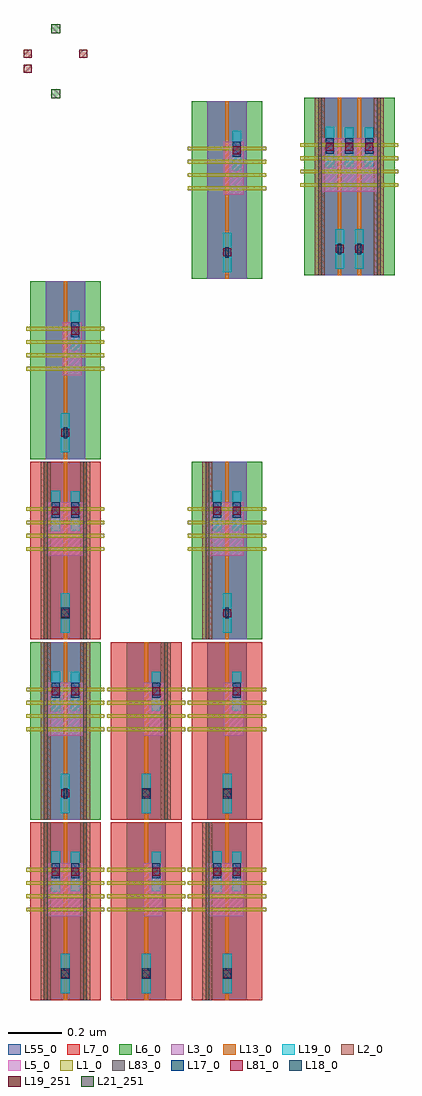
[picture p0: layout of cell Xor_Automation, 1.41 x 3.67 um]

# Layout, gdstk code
import gdstk
lib = gdstk.Library(unit=1e-6, precision=1e-09)
def R(c, l, rs):  # rectangles x0, y0, x1, y1
    for r in rs: c.add(gdstk.rectangle(r[:2], r[2:], *l))
def A(c, l, x, y, w, h, nx, ny, dx, dy):  # array of equal rectangles
    R(c, l, [(x+i*dx, y+j*dy, x+i*dx+w, y+j*dy+h) for i in range(nx) for j in range(ny)])
L1_0 = (1, 0)
L2_0 = (2, 0)
L3_0 = (3, 0)
L5_0 = (5, 0)
L6_0 = (6, 0)
L7_0 = (7, 0)
L13_0 = (13, 0)
L17_0 = (17, 0)
L18_0 = (18, 0)
L19_0 = (19, 0)
L19_251 = (19, 251)
L21_251 = (21, 251)
L55_0 = (55, 0)
L81_0 = (81, 0)
L83_0 = (83, 0)

nfet_pcell_87be = lib.new_cell('nfet_pcell_87be')
A(nfet_pcell_87be, L1_0, -0.14, 0, 0.294, 0.014, 1, 4, 0, 0.05)
R(nfet_pcell_87be, L2_0, [(-0.086,-0.333,-0.048,0.335), (0.062,-0.333,0.1,0.335)])
R(nfet_pcell_87be, L5_0, [(-0.067,-0.018,0,0.182), (0,-0.018,0.014,0.182), (0.014,-0.018,0.081,0.182)])
R(nfet_pcell_87be, L7_0, [(-0.126,-0.333,0.14,0.335)])
A(nfet_pcell_87be, L13_0, -0.074, -0.333, 0.014, 0.668, 3, 1, 0.074, 0)
R(nfet_pcell_87be, L13_0, [(-0.074,-0.333,-0.06,0.335), (0.074,-0.333,0.088,0.335)])
R(nfet_pcell_87be, L17_0, [(-0.045,0.125,-0.015,0.182), (0.029,0.125,0.059,0.182)])
R(nfet_pcell_87be, L18_0, [(-0.01,-0.254,0.024,-0.214)])
R(nfet_pcell_87be, L19_0, [(-0.01,-0.308,0.024,-0.16), (-0.01,-0.308,0.024,-0.16), (-0.047,0.074,-0.013,0.226), (-0.047,0.076,-0.013,0.224), (0.027,0.076,0.061,0.224), (0.027,0.08,0.061,0.22)])
R(nfet_pcell_87be, L55_0, [(-0.067,-0.333,0.081,0.335)])
R(nfet_pcell_87be, L81_0, [(-0.008,-0.249,0.022,-0.219), (-0.045,0.135,-0.015,0.165), (0.029,0.135,0.059,0.165)])
R(nfet_pcell_87be, L83_0, [(-0.074,-0.333,-0.06,0.335), (0.074,-0.333,0.088,0.335)])

pfet_pcell_d69f = lib.new_cell('pfet_pcell_d69f')
A(pfet_pcell_d69f, L1_0, -0.14, 0, 0.294, 0.014, 1, 4, 0, 0.05)
R(pfet_pcell_d69f, L2_0, [(-0.086,-0.333,-0.048,0.335), (0.062,-0.333,0.1,0.335)])
R(pfet_pcell_d69f, L3_0, [(-0.067,-0.333,0.081,0.335)])
R(pfet_pcell_d69f, L5_0, [(-0.067,-0.018,0,0.182), (0,-0.018,0.014,0.182), (0.014,-0.018,0.081,0.182)])
R(pfet_pcell_d69f, L6_0, [(-0.126,-0.333,0.14,0.335)])
A(pfet_pcell_d69f, L13_0, -0.074, -0.333, 0.014, 0.668, 3, 1, 0.074, 0)
R(pfet_pcell_d69f, L13_0, [(-0.074,-0.333,-0.06,0.335), (0.074,-0.333,0.088,0.335)])
R(pfet_pcell_d69f, L17_0, [(-0.045,0.125,-0.015,0.182), (0.029,0.125,0.059,0.182)])
R(pfet_pcell_d69f, L18_0, [(0,-0.254,0.014,-0.214)])
R(pfet_pcell_d69f, L19_0, [(-0.01,-0.308,0.024,-0.16), (-0.01,-0.308,0.024,-0.16), (-0.047,0.074,-0.013,0.226), (-0.047,0.076,-0.013,0.224), (0.027,0.076,0.061,0.224), (0.027,0.08,0.061,0.22)])
R(pfet_pcell_d69f, L55_0, [(-0.067,-0.333,0.081,0.335)])
R(pfet_pcell_d69f, L81_0, [(-0.008,-0.249,0.022,-0.219), (-0.045,0.135,-0.015,0.165), (0.029,0.135,0.059,0.165)])
R(pfet_pcell_d69f, L83_0, [(-0.074,-0.333,-0.06,0.335), (0.074,-0.333,0.088,0.335)])

pfet_pcell_9e03 = lib.new_cell('pfet_pcell_9e03')
A(pfet_pcell_9e03, L1_0, -0.14, 0, 0.294, 0.014, 1, 4, 0, 0.05)
R(pfet_pcell_9e03, L2_0, [(0.062,-0.333,0.1,0.335)])
R(pfet_pcell_9e03, L3_0, [(-0.067,-0.333,0.081,0.335)])
R(pfet_pcell_9e03, L5_0, [(-0.005,-0.018,0,0.182), (0,-0.018,0.014,0.182), (0.014,-0.018,0.081,0.182)])
R(pfet_pcell_9e03, L6_0, [(-0.126,-0.333,0.14,0.335)])
R(pfet_pcell_9e03, L13_0, [(0,-0.333,0.014,0.335), (0.074,-0.333,0.088,0.335), (0.074,-0.333,0.088,0.335)])
R(pfet_pcell_9e03, L17_0, [(0.029,0.125,0.059,0.182)])
R(pfet_pcell_9e03, L18_0, [(0,-0.254,0.014,-0.214)])
R(pfet_pcell_9e03, L19_0, [(-0.01,-0.308,0.024,-0.16), (-0.01,-0.308,0.024,-0.16), (0.027,0.076,0.061,0.224), (0.027,0.08,0.061,0.22)])
R(pfet_pcell_9e03, L55_0, [(-0.067,-0.333,0.081,0.335)])
R(pfet_pcell_9e03, L81_0, [(-0.008,-0.249,0.022,-0.219), (0.029,0.135,0.059,0.165)])
R(pfet_pcell_9e03, L83_0, [(0.074,-0.333,0.088,0.335)])

pfet_pcell_08b5 = lib.new_cell('pfet_pcell_08b5')
A(pfet_pcell_08b5, L1_0, -0.14, 0, 0.294, 0.014, 1, 4, 0, 0.05)
R(pfet_pcell_08b5, L2_0, [(-0.086,-0.333,-0.048,0.335)])
R(pfet_pcell_08b5, L3_0, [(-0.067,-0.333,0.081,0.335)])
R(pfet_pcell_08b5, L5_0, [(-0.067,-0.018,0,0.182), (0,-0.018,0.014,0.182), (0.014,-0.018,0.069,0.182)])
R(pfet_pcell_08b5, L6_0, [(-0.126,-0.333,0.14,0.335)])
R(pfet_pcell_08b5, L13_0, [(-0.074,-0.333,-0.06,0.335), (-0.074,-0.333,-0.06,0.335), (0,-0.333,0.014,0.335)])
R(pfet_pcell_08b5, L17_0, [(-0.045,0.125,-0.015,0.182), (0.029,0.125,0.059,0.182)])
R(pfet_pcell_08b5, L18_0, [(0,-0.254,0.014,-0.214)])
R(pfet_pcell_08b5, L19_0, [(-0.01,-0.308,0.024,-0.16), (-0.01,-0.308,0.024,-0.16), (-0.047,0.074,-0.013,0.226), (-0.047,0.076,-0.013,0.224), (0.027,0.076,0.061,0.224), (0.027,0.08,0.061,0.22)])
R(pfet_pcell_08b5, L55_0, [(-0.067,-0.333,0.081,0.335)])
R(pfet_pcell_08b5, L81_0, [(-0.008,-0.249,0.022,-0.219), (-0.045,0.135,-0.015,0.165), (0.029,0.135,0.059,0.165)])
R(pfet_pcell_08b5, L83_0, [(-0.074,-0.333,-0.06,0.335)])

nfet_pcell_b343 = lib.new_cell('nfet_pcell_b343')
A(nfet_pcell_b343, L1_0, -0.14, 0, 0.294, 0.014, 1, 4, 0, 0.05)
R(nfet_pcell_b343, L5_0, [(-0.005,-0.018,0,0.182), (0,-0.018,0.014,0.182), (0.014,-0.018,0.069,0.182)])
R(nfet_pcell_b343, L7_0, [(-0.126,-0.333,0.14,0.335)])
R(nfet_pcell_b343, L13_0, [(0,-0.333,0.014,0.335)])
R(nfet_pcell_b343, L17_0, [(0.029,0.125,0.059,0.182)])
R(nfet_pcell_b343, L18_0, [(-0.01,-0.254,0.024,-0.214)])
R(nfet_pcell_b343, L19_0, [(-0.01,-0.308,0.024,-0.16), (-0.01,-0.308,0.024,-0.16), (0.027,0.076,0.061,0.224), (0.027,0.08,0.061,0.22)])
R(nfet_pcell_b343, L55_0, [(-0.067,-0.333,0.081,0.335)])
R(nfet_pcell_b343, L81_0, [(-0.008,-0.249,0.022,-0.219), (0.029,0.135,0.059,0.165)])

pfet_pcell_d20d = lib.new_cell('pfet_pcell_d20d')
A(pfet_pcell_d20d, L1_0, -0.14, 0, 0.294, 0.014, 1, 4, 0, 0.05)
R(pfet_pcell_d20d, L3_0, [(-0.067,-0.333,0.081,0.335)])
R(pfet_pcell_d20d, L5_0, [(-0.005,-0.018,0,0.182), (0,-0.018,0.014,0.182), (0.014,-0.018,0.069,0.182)])
R(pfet_pcell_d20d, L6_0, [(-0.126,-0.333,0.14,0.335)])
R(pfet_pcell_d20d, L13_0, [(0,-0.333,0.014,0.335)])
R(pfet_pcell_d20d, L17_0, [(0.029,0.125,0.059,0.182)])
R(pfet_pcell_d20d, L18_0, [(0,-0.254,0.014,-0.214)])
R(pfet_pcell_d20d, L19_0, [(-0.01,-0.308,0.024,-0.16), (-0.01,-0.308,0.024,-0.16), (0.027,0.076,0.061,0.224), (0.027,0.08,0.061,0.22)])
R(pfet_pcell_d20d, L55_0, [(-0.067,-0.333,0.081,0.335)])
R(pfet_pcell_d20d, L81_0, [(-0.008,-0.249,0.022,-0.219), (0.029,0.135,0.059,0.165)])

nfet_pcell_2483 = lib.new_cell('nfet_pcell_2483')
A(nfet_pcell_2483, L1_0, -0.14, 0, 0.294, 0.014, 1, 4, 0, 0.05)
R(nfet_pcell_2483, L2_0, [(0.062,-0.333,0.1,0.335)])
R(nfet_pcell_2483, L5_0, [(-0.005,-0.018,0,0.182), (0,-0.018,0.014,0.182), (0.014,-0.018,0.081,0.182)])
R(nfet_pcell_2483, L7_0, [(-0.126,-0.333,0.14,0.335)])
R(nfet_pcell_2483, L13_0, [(0,-0.333,0.014,0.335), (0.074,-0.333,0.088,0.335), (0.074,-0.333,0.088,0.335)])
R(nfet_pcell_2483, L17_0, [(0.029,0.125,0.059,0.182)])
R(nfet_pcell_2483, L18_0, [(-0.01,-0.254,0.024,-0.214)])
R(nfet_pcell_2483, L19_0, [(-0.01,-0.308,0.024,-0.16), (-0.01,-0.308,0.024,-0.16), (0.027,0.076,0.061,0.224), (0.027,0.08,0.061,0.22)])
R(nfet_pcell_2483, L55_0, [(-0.067,-0.333,0.081,0.335)])
R(nfet_pcell_2483, L81_0, [(-0.008,-0.249,0.022,-0.219), (0.029,0.135,0.059,0.165)])
R(nfet_pcell_2483, L83_0, [(0.074,-0.333,0.088,0.335)])

nfet_pcell_85ad = lib.new_cell('nfet_pcell_85ad')
A(nfet_pcell_85ad, L1_0, -0.14, 0, 0.294, 0.014, 1, 4, 0, 0.05)
R(nfet_pcell_85ad, L2_0, [(-0.086,-0.333,-0.048,0.335)])
R(nfet_pcell_85ad, L5_0, [(-0.067,-0.018,0,0.182), (0,-0.018,0.014,0.182), (0.014,-0.018,0.069,0.182)])
R(nfet_pcell_85ad, L7_0, [(-0.126,-0.333,0.14,0.335)])
R(nfet_pcell_85ad, L13_0, [(-0.074,-0.333,-0.06,0.335), (-0.074,-0.333,-0.06,0.335), (0,-0.333,0.014,0.335)])
R(nfet_pcell_85ad, L17_0, [(-0.045,0.125,-0.015,0.182), (0.029,0.125,0.059,0.182)])
R(nfet_pcell_85ad, L18_0, [(-0.01,-0.254,0.024,-0.214)])
R(nfet_pcell_85ad, L19_0, [(-0.01,-0.308,0.024,-0.16), (-0.01,-0.308,0.024,-0.16), (-0.047,0.074,-0.013,0.226), (-0.047,0.076,-0.013,0.224), (0.027,0.076,0.061,0.224), (0.027,0.08,0.061,0.22)])
R(nfet_pcell_85ad, L55_0, [(-0.067,-0.333,0.081,0.335)])
R(nfet_pcell_85ad, L81_0, [(-0.008,-0.249,0.022,-0.219), (-0.045,0.135,-0.015,0.165), (0.029,0.135,0.059,0.165)])
R(nfet_pcell_85ad, L83_0, [(-0.074,-0.333,-0.06,0.335)])

pfet_pcell_c90f = lib.new_cell('pfet_pcell_c90f')
A(pfet_pcell_c90f, L1_0, -0.14, 0, 0.294, 0.014, 1, 4, 0, 0.05)
R(pfet_pcell_c90f, L2_0, [(-0.086,-0.333,-0.048,0.335)])
R(pfet_pcell_c90f, L3_0, [(-0.067,-0.333,0.081,0.335)])
R(pfet_pcell_c90f, L5_0, [(-0.067,-0.018,0,0.182), (0,-0.018,0.014,0.182), (0.014,-0.018,0.069,0.182)])
R(pfet_pcell_c90f, L6_0, [(-0.126,-0.333,0.14,0.335)])
R(pfet_pcell_c90f, L13_0, [(-0.074,-0.333,-0.06,0.335), (-0.074,-0.333,-0.06,0.335), (0,-0.333,0.014,0.335)])
R(pfet_pcell_c90f, L17_0, [(-0.045,0.125,-0.015,0.182), (0.029,0.125,0.059,0.182)])
R(pfet_pcell_c90f, L18_0, [(0,-0.254,0.014,-0.214)])
R(pfet_pcell_c90f, L19_0, [(-0.01,-0.308,0.024,-0.16), (-0.01,-0.308,0.024,-0.16), (-0.047,0.074,-0.013,0.226), (-0.047,0.076,-0.013,0.224), (0.027,0.076,0.061,0.224), (0.027,0.08,0.061,0.22)])
R(pfet_pcell_c90f, L55_0, [(-0.067,-0.333,0.081,0.335)])
R(pfet_pcell_c90f, L81_0, [(-0.008,-0.249,0.022,-0.219), (-0.045,0.135,-0.015,0.165), (0.029,0.135,0.059,0.165)])
R(pfet_pcell_c90f, L83_0, [(-0.074,-0.333,-0.06,0.335)])

xor_automation = lib.new_cell('Xor_Automation')
R(xor_automation, L19_251, [(0,0.097,0.03,0.127), (0,0.153,0.03,0.183), (0.21,0.153,0.24,0.183)])
R(xor_automation, L21_251, [(0.103,0,0.137,0.034), (0.103,0.246,0.137,0.28)])
xor_automation.add(gdstk.Reference(nfet_pcell_87be, (0.15,-3.057)))
xor_automation.add(gdstk.Reference(nfet_pcell_87be, (0.15,-1.701)))
xor_automation.add(gdstk.Reference(pfet_pcell_d69f, (0.15,-2.379)))
xor_automation.add(gdstk.Reference(pfet_pcell_9e03, (1.255,-0.332)))
xor_automation.add(gdstk.Reference(pfet_pcell_08b5, (0.758,-1.701)))
xor_automation.add(gdstk.Reference(nfet_pcell_b343, (0.454,-3.057)))
xor_automation.add(gdstk.Reference(nfet_pcell_b343, (0.758,-2.379)))
xor_automation.add(gdstk.Reference(pfet_pcell_d20d, (0.15,-1.023)))
xor_automation.add(gdstk.Reference(pfet_pcell_d20d, (0.758,-0.345)))
xor_automation.add(gdstk.Reference(nfet_pcell_2483, (0.454,-2.379)))
xor_automation.add(gdstk.Reference(nfet_pcell_85ad, (0.758,-3.057)))
xor_automation.add(gdstk.Reference(pfet_pcell_c90f, (1.181,-0.332)))

lib.write_gds('Xor_Automation.gds')
